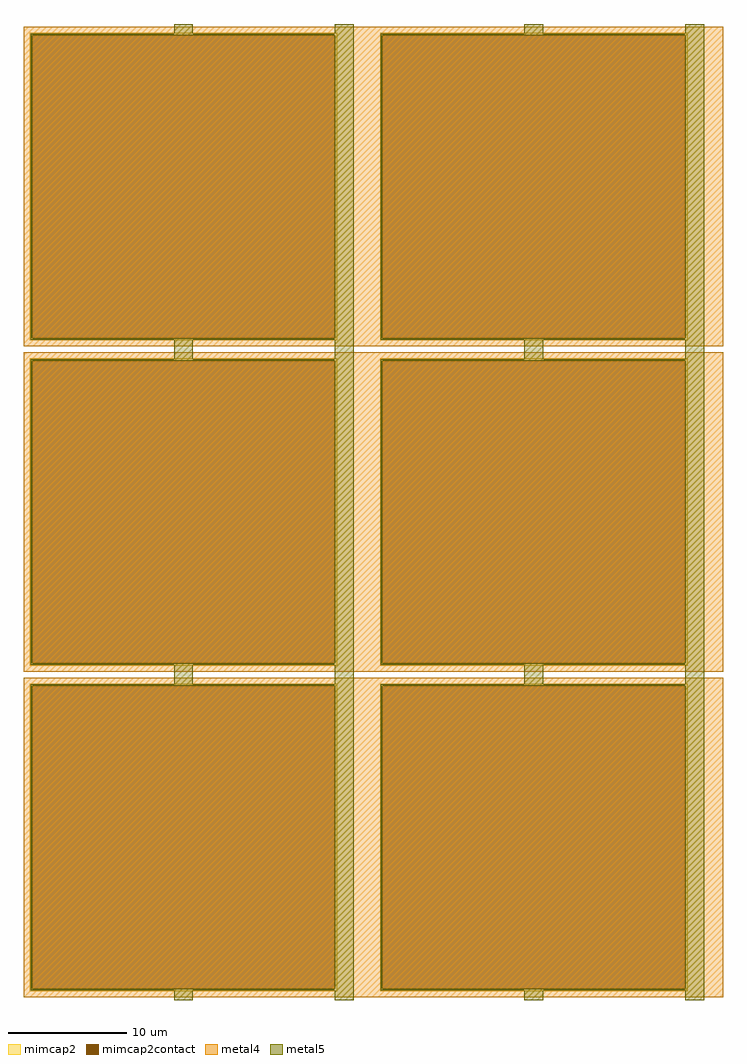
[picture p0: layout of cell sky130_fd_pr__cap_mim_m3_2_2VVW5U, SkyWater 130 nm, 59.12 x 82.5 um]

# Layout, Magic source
magic
tech sky130A
<< metal4 >>
rect -154 4100 6 4101
rect -2956 1400 2956 4100
rect -2956 -1350 2956 1350
rect -2956 -4100 2956 -1400
rect -156 -4103 10 -4100
<< mimcap2 >>
rect -2906 4030 -306 4050
rect -2906 1470 -2886 4030
rect -326 1470 -306 4030
rect -2906 1450 -306 1470
rect 55 4030 2655 4050
rect 55 1470 75 4030
rect 2635 1470 2655 4030
rect 55 1450 2655 1470
rect -2906 1280 -306 1300
rect -2906 -1280 -2886 1280
rect -326 -1280 -306 1280
rect -2906 -1300 -306 -1280
rect 55 1280 2655 1300
rect 55 -1280 75 1280
rect 2635 -1280 2655 1280
rect 55 -1300 2655 -1280
rect -2906 -1470 -306 -1450
rect -2906 -4030 -2886 -1470
rect -326 -4030 -306 -1470
rect -2906 -4050 -306 -4030
rect 55 -1470 2655 -1450
rect 55 -4030 75 -1470
rect 2635 -4030 2655 -1470
rect 55 -4050 2655 -4030
<< mimcap2contact >>
rect -2886 1470 -326 4030
rect 75 1470 2635 4030
rect -2886 -1280 -326 1280
rect 75 -1280 2635 1280
rect -2886 -4030 -326 -1470
rect 75 -4030 2635 -1470
<< metal5 >>
rect -1686 4042 -1526 4125
rect -326 4042 -166 4125
rect 1275 4042 1435 4125
rect 2635 4042 2795 4125
rect -2898 4030 -166 4042
rect -2898 1470 -2886 4030
rect -326 1470 -166 4030
rect -2898 1458 -166 1470
rect 63 4030 2795 4042
rect 63 1470 75 4030
rect 2635 1470 2795 4030
rect 63 1458 2795 1470
rect -1686 1292 -1526 1458
rect -326 1292 -166 1458
rect 1275 1292 1435 1458
rect 2635 1292 2795 1458
rect -2898 1280 -166 1292
rect -2898 -1280 -2886 1280
rect -326 -1280 -166 1280
rect -2898 -1292 -166 -1280
rect 63 1280 2795 1292
rect 63 -1280 75 1280
rect 2635 -1280 2795 1280
rect 63 -1292 2795 -1280
rect -1686 -1458 -1526 -1292
rect -326 -1458 -166 -1292
rect 1275 -1458 1435 -1292
rect 2635 -1458 2795 -1292
rect -2898 -1470 -166 -1458
rect -2898 -4030 -2886 -1470
rect -326 -4030 -166 -1470
rect -2898 -4042 -166 -4030
rect 63 -1470 2795 -1458
rect 63 -4030 75 -1470
rect 2635 -4030 2795 -1470
rect 63 -4042 2795 -4030
rect -1686 -4125 -1526 -4042
rect -326 -4125 -166 -4042
rect 1275 -4125 1435 -4042
rect 2635 -4125 2795 -4042
<< properties >>
string FIXED_BBOX 5 1400 2705 4100
string gencell sky130_fd_pr__cap_mim_m3_2
string library sky130
string parameters w 26.00 l 26.00 val 1.371k carea 2.00 cperi 0.19 nx 2 ny 3 dummy 0 square 0 lmin 2.00 wmin 2.00 lmax 30.0 wmax 30.0 dc 0 bconnect 1 tconnect 1 ccov 100
<< end >>
